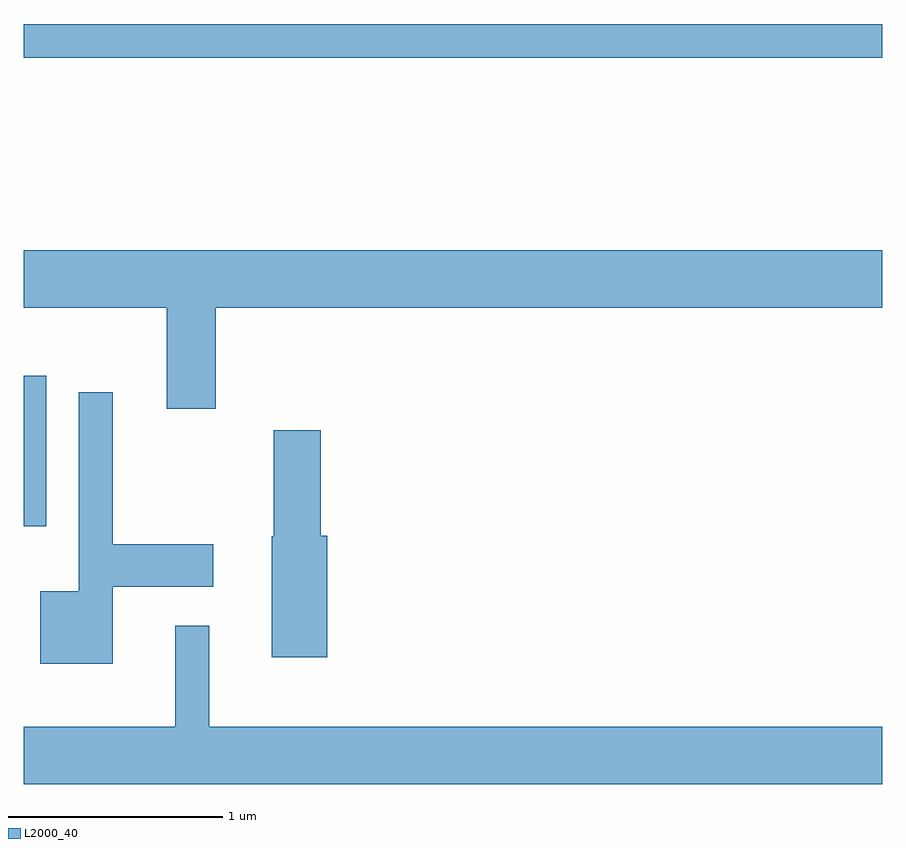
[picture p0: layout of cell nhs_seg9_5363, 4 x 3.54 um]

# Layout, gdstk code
import gdstk
lib = gdstk.Library(unit=1e-6, precision=1e-09)
def R(c, l, rs):  # rectangles x0, y0, x1, y1
    for r in rs: c.add(gdstk.rectangle(r[:2], r[2:], *l))
def P(c, l, *ps):  # polygons
    for p in ps: c.add(gdstk.Polygon(p, *l))
L2000_40 = (2000, 40)

nhs_seg9_5363 = lib.new_cell('nhs_seg9_5363')
R(nhs_seg9_5363, L2000_40, [(343.611,1979.698,343.714,1980.399), (343.611,1981.881,347.611,1982.039)])
P(nhs_seg9_5363, L2000_40, [(344.504,1980.716),(347.611,1980.716),(347.611,1980.984),(343.611,1980.984),(343.611,1980.716),(344.276,1980.716),(344.276,1980.246),(344.504,1980.246)],
  [(344.024,1979.416),(344.494,1979.416),(344.494,1979.614),(344.024,1979.614),(344.024,1980.323),(343.866,1980.323),(343.866,1979.394),(343.686,1979.394),(343.686,1979.056),(344.024,1979.056)],
  [(345.024,1979.654),(344.994,1979.654),(344.994,1980.144),(344.776,1980.144),(344.776,1979.65),(344.766,1979.65),(344.766,1979.086),(345.024,1979.086)],
  [(347.611,1978.764),(344.474,1978.764),(344.474,1979.233),(344.316,1979.233),(344.316,1978.764),(343.611,1978.764),(343.611,1978.496),(347.611,1978.496)])

lib.write_gds('nhs_seg9_5363.gds')
